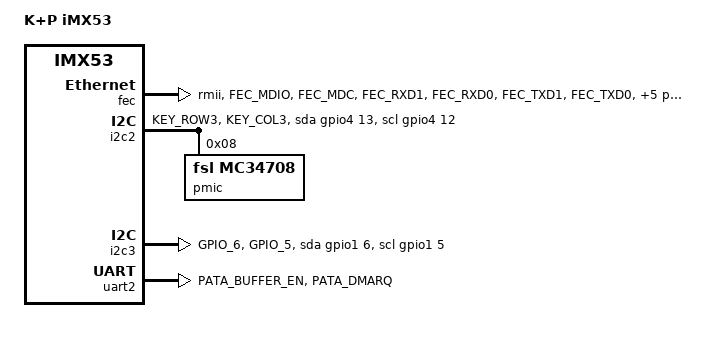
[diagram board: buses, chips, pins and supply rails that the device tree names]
/*
 * Copyright 2018
 * Lukasz Majewski, DENX Software Engineering, lukma@denx.de
 *
 * SPDX-License-Identifier:     GPL-2.0+ or X11
 */

/dts-v1/;
#include <dt-bindings/gpio/gpio.h>
#include "imx53.dtsi"
#include "imx53-pinfunc.h"

/ {
	model = "K+P iMX53";
	compatible = "kp,imx53-kp", "fsl,imx53";

	chosen {
		stdout-path = &uart2;
	};
};

&fec {
	pinctrl-names = "default";
	pinctrl-0 = <&pinctrl_eth>;
	phy-mode = "rmii";
	phy-reset-gpios = <&gpio7 6 GPIO_ACTIVE_LOW>;
	status = "okay";
};

&i2c2 {
	pinctrl-names = "default", "gpio";
	pinctrl-0 = <&pinctrl_i2c2>;
	pinctrl-1 = <&pinctrl_i2c2_gpio>;
	clock_frequency = <100000>;

	scl-gpios = <&gpio4 12 GPIO_ACTIVE_HIGH>;
	sda-gpios = <&gpio4 13 GPIO_ACTIVE_HIGH>;

	status = "okay";

	pmic: mc34708@8 {
		compatible = "fsl,mc34708";
		reg = <0x8>;
	};
};

&i2c3 {
	pinctrl-names = "default", "gpio";
	pinctrl-0 = <&pinctrl_i2c3>;
	pinctrl-1 = <&pinctrl_i2c3_gpio>;
	clock_frequency = <100000>;

	scl-gpios = <&gpio1 5 GPIO_ACTIVE_HIGH>;
	sda-gpios = <&gpio1 6 GPIO_ACTIVE_HIGH>;

	status = "okay";
};

&iomuxc {
	pinctrl-names = "default";
	pinctrl-0 = <&pinctrl_hog>;

	imx53-kp {
		pinctrl_eth: ethgrp {
			fsl,pins = <
				MX53_PAD_FEC_MDIO__FEC_MDIO 0x1fc
				MX53_PAD_FEC_MDC__FEC_MDC 0x4
				MX53_PAD_FEC_RXD1__FEC_RDATA_1 0x180
				MX53_PAD_FEC_RXD0__FEC_RDATA_0 0x180
				MX53_PAD_FEC_TXD1__FEC_TDATA_1 0x4
				MX53_PAD_FEC_TXD0__FEC_TDATA_0 0x4
				MX53_PAD_FEC_TX_EN__FEC_TX_EN 0x4
				MX53_PAD_FEC_REF_CLK__FEC_TX_CLK 0x180
				/* The RX_ER pin needs to be pull down */
				/* for this device */
				MX53_PAD_FEC_RX_ER__FEC_RX_ER 0x1c0
				MX53_PAD_FEC_CRS_DV__FEC_RX_DV 0x180
				>;
		};

		pinctrl_hog: hoggrp {
			fsl,pins = <
				/* PHY RESET */
				MX53_PAD_PATA_DA_0__GPIO7_6 0x182
				/* VBUS_PWR_EN */
				MX53_PAD_PATA_DA_2__GPIO7_8 0x1e4
				/* BOOSTER_OFF */
				MX53_PAD_EIM_CS0__GPIO2_23 0x1e4
				/* LCD BACKLIGHT */
				MX53_PAD_GPIO_1__GPIO1_1 0x1e4
				/* KEY1 GPIO */
				MX53_PAD_EIM_RW__GPIO2_26 0x1e4
			>;
		};

		pinctrl_i2c2: i2c2grp {
			fsl,pins = <
				MX53_PAD_KEY_ROW3__I2C2_SDA
						 (0x1ee | IMX_PAD_SION)
				MX53_PAD_KEY_COL3__I2C2_SCL
						 (0x1ee | IMX_PAD_SION)
			>;
		};

		pinctrl_i2c2_gpio: i2c2grpgpio {
			fsl,pins = <
				MX53_PAD_KEY_ROW3__GPIO4_13 0x1e4
				MX53_PAD_KEY_COL3__GPIO4_12 0x1e4
			>;
		};

		pinctrl_i2c3: i2c3grp {
			fsl,pins = <
				MX53_PAD_GPIO_6__I2C3_SDA (0x1ee | IMX_PAD_SION)
				MX53_PAD_GPIO_5__I2C3_SCL (0x1ee | IMX_PAD_SION)
			>;
		};

		pinctrl_i2c3_gpio: i2c3grpgpio {
			fsl,pins = <
				MX53_PAD_GPIO_6__GPIO1_6 0x1e4
				MX53_PAD_GPIO_5__GPIO1_5 0x1e4
			>;
		};

		pinctrl_uart2: uart2grp {
			fsl,pins = <
				MX53_PAD_PATA_BUFFER_EN__UART2_RXD_MUX 0x1e4
				MX53_PAD_PATA_DMARQ__UART2_TXD_MUX 0x1e4
			>;
		};
	};
};

&uart2 {
	pinctrl-names = "default";
	pinctrl-0 = <&pinctrl_uart2>;
	status = "okay";
};
